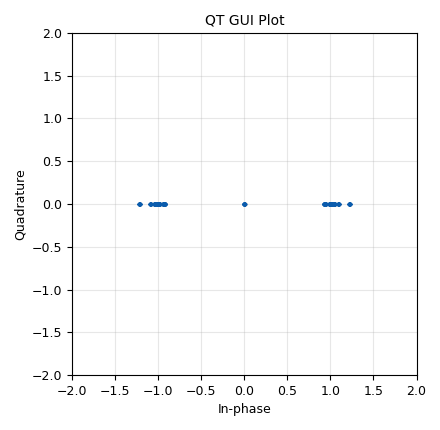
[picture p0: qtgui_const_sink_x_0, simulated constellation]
options:
  parameters:
    category: Custom
    generate_options: qt_gui
    id: top_block
    output_language: python
  states: {}

blocks:
- name: samp_rate
  id: variable
  parameters:
    value: 320e3
  states: {}
- name: analog_random_source_x_0
  id: analog_random_source_x
  parameters:
    max: '2'
    min: '0'
    num_samps: '10000000'
    repeat: 'True'
    type: byte
  states: {}
- name: blocks_throttle_0
  id: blocks_throttle
  parameters:
    samples_per_second: samp_rate
    type: complex
  states: {}
- name: digital_psk_mod_0
  id: digital_psk_mod
  parameters:
    constellation_points: '2'
    differential: 'True'
    excess_bw: '350e-3'
    mod_code: '"gray"'
    samples_per_symbol: '2'
  states: {}
- name: qtgui_const_sink_x_0
  id: qtgui_const_sink_x
  parameters:
    name: QT GUI Plot
    size: '1024'
    type: complex
  states: {}

connections:
- [analog_random_source_x_0, '0', digital_psk_mod_0, '0']
- [blocks_throttle_0, '0', qtgui_const_sink_x_0, '0']
- [digital_psk_mod_0, '0', blocks_throttle_0, '0']

metadata:
  file_format: 1
